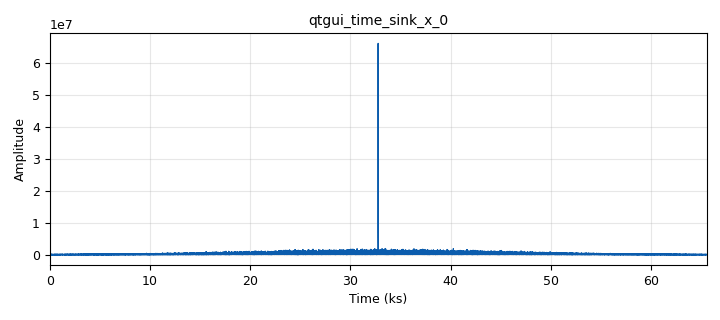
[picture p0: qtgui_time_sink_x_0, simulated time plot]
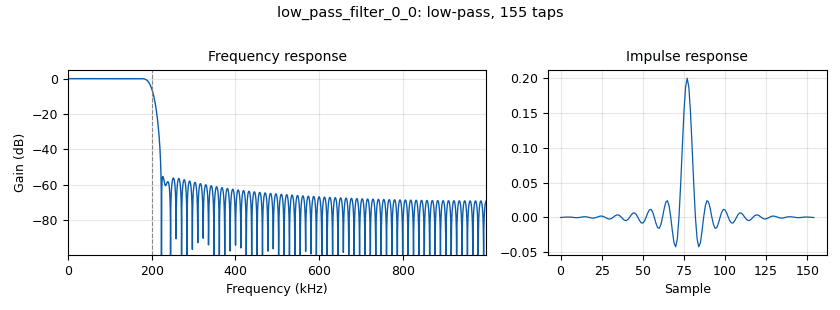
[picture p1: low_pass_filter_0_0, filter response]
options:
  parameters:
    generate_options: qt_gui
    id: ex9_01
    output_language: python
    title: Figure 9.1 Correlation of delayed signal
  states: {}

blocks:
- name: M
  id: variable
  parameters:
    value: '5'
  states: {}
- name: N
  id: variable
  parameters:
    value: '65536'
  states: {}
- name: samp_rate
  id: variable
  parameters:
    value: 2e6
  states: {}
- name: analog_noise_source_x_0
  id: analog_noise_source_x
  parameters:
    amp: '1'
    noise_type: analog.GR_GAUSSIAN
    seed: '0'
    type: complex
  states: {}
- name: blocks_complex_to_mag_0
  id: blocks_complex_to_mag
  parameters: {}
  states: {}
- name: blocks_delay_0
  id: blocks_delay
  parameters:
    delay: '1'
    type: complex
  states: {}
- name: blocks_file_sink_0
  id: blocks_file_sink
  parameters:
    file: /tmp/data.bin
    type: float
    unbuffered: 'True'
  states: {}
- name: blocks_multiply_conjugate_cc_0
  id: blocks_multiply_conjugate_cc
  parameters:
    vlen: N
  states: {}
- name: blocks_stream_to_vector_0
  id: blocks_stream_to_vector
  parameters:
    num_items: N
    type: complex
  states: {}
- name: blocks_stream_to_vector_0_0
  id: blocks_stream_to_vector
  parameters:
    num_items: N
    type: complex
  states: {}
- name: blocks_throttle2_0
  id: blocks_throttle2
  parameters:
    samples_per_second: samp_rate
    type: complex
  states: {}
- name: blocks_vector_to_stream_1
  id: blocks_vector_to_stream
  parameters:
    num_items: N
    type: complex
  states: {}
- name: epy_block_0
  id: epy_block
  parameters:
    N: N
    _source_code: |
      """
      Embedded Python Blocks:
      """
      import numpy as np
      from gnuradio import gr

      class blk(gr.basic_block):  # other base classes are basic_block, decim_block, interp_block
          def __init__(self, N=1, cancel=True, cancelP=1, printres=True):  # arguments show up as parameters in GRC
              gr.basic_block.__init__(
                  self,
                  name='peak fit',   # will show up in GRC
                  in_sig=[np.complex64], out_sig=[np.float32]
              )
              self.N = N
              self.cancel=cancel
              self.bigarray=np.ones((5*self.N),dtype=np.complex64)
              self.posarray=0
              self.printres=printres
              self.cancelP=cancelP

          def general_work(self, input_items, output_items):
              self.consume(0, len(input_items[0]))
              self.bigarray[self.posarray:self.posarray+len(input_items[0])]=input_items[0]
              self.posarray+=len(input_items[0])
              nbsol=0
              while self.posarray>=self.N:
                  if self.cancel == True:
                      self.bigarray[self.N//2-self.cancelP:self.N//2+self.cancelP]=0
                  coarse=np.argmax(np.absolute(self.bigarray[0:self.N]))  # position du maximum
                  s1=np.absolute(self.bigarray[coarse-1])                 # valeurs des voisins
                  s2=np.absolute(self.bigarray[coarse])
                  s3=np.absolute(self.bigarray[coarse+1])
                  if ((s1+s3-2*s2)==0):
                      print("ERROR")
                  correction=(s1-s3)/(s1+s3-2*s2)/2                       # peak fit
                  solution=coarse+correction
                  self.bigarray[0:self.posarray-self.N]=self.bigarray[self.N:self.posarray]
                  self.posarray-=self.N
                  output_items[0][nbsol]=solution-self.N/2
                  if self.printres==True:
                      print(f"{nbsol} {output_items[0][nbsol]:.6f}")
                  nbsol+=1
              return(nbsol)
    cancel: 'False'
    cancelP: '1'
    comment: |-
      Peak fit custom 
      block
    printres: 'False'
  states: {}
- name: fft_vxx_0
  id: fft_vxx
  parameters:
    fft_size: N
    forward: 'False'
    shift: 'True'
    type: complex
    window: window.blackmanharris(N)
  states: {}
- name: fft_vxx_0_0
  id: fft_vxx
  parameters:
    fft_size: N
    forward: 'True'
    shift: 'True'
    type: complex
    window: window.blackmanharris(N)
  states: {}
- name: fft_vxx_0_1
  id: fft_vxx
  parameters:
    fft_size: N
    forward: 'False'
    shift: 'True'
    type: complex
    window: window.blackmanharris(N)
  states: {}
- name: low_pass_filter_0_0
  id: low_pass_filter
  parameters:
    cutoff_freq: samp_rate/M/2
    decim: M
    gain: '1'
    samp_rate: samp_rate
    type: fir_filter_ccf
    width: samp_rate/64
    win: window.WIN_HAMMING
  states: {}
- name: low_pass_filter_0_0_0
  id: low_pass_filter
  parameters:
    cutoff_freq: samp_rate/M/2
    decim: M
    gain: '1'
    samp_rate: samp_rate
    type: fir_filter_ccf
    width: samp_rate/64
    win: window.WIN_HAMMING
  states: {}
- name: qtgui_number_sink_0
  id: qtgui_number_sink
  parameters:
    graph_type: qtgui.NUM_GRAPH_HORIZ
    type: float
  states: {}
- name: qtgui_time_sink_x_0
  id: qtgui_time_sink_x
  parameters:
    autoscale: 'True'
    size: N
    srate: '1'
    type: float
  states: {}

connections:
- [analog_noise_source_x_0, '0', blocks_throttle2_0, '0']
- [blocks_complex_to_mag_0, '0', qtgui_time_sink_x_0, '0']
- [blocks_delay_0, '0', low_pass_filter_0_0, '0']
- [blocks_multiply_conjugate_cc_0, '0', fft_vxx_0_0, '0']
- [blocks_stream_to_vector_0, '0', fft_vxx_0, '0']
- [blocks_stream_to_vector_0_0, '0', fft_vxx_0_1, '0']
- [blocks_throttle2_0, '0', blocks_delay_0, '0']
- [blocks_throttle2_0, '0', low_pass_filter_0_0_0, '0']
- [blocks_vector_to_stream_1, '0', blocks_complex_to_mag_0, '0']
- [blocks_vector_to_stream_1, '0', epy_block_0, '0']
- [epy_block_0, '0', blocks_file_sink_0, '0']
- [epy_block_0, '0', qtgui_number_sink_0, '0']
- [fft_vxx_0, '0', blocks_multiply_conjugate_cc_0, '1']
- [fft_vxx_0_0, '0', blocks_vector_to_stream_1, '0']
- [fft_vxx_0_1, '0', blocks_multiply_conjugate_cc_0, '0']
- [low_pass_filter_0_0, '0', blocks_stream_to_vector_0_0, '0']
- [low_pass_filter_0_0_0, '0', blocks_stream_to_vector_0, '0']

metadata:
  file_format: 1
  grc_version: 3.10.9.2
